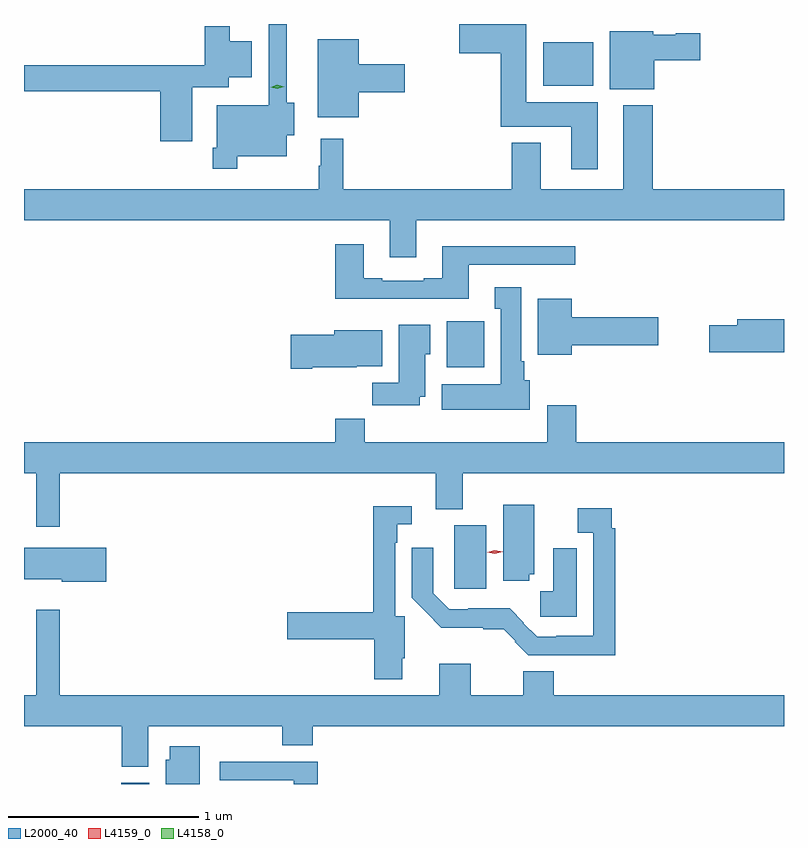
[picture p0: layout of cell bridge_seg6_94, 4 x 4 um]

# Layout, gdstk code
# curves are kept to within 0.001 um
import gdstk
lib = gdstk.Library(unit=1e-6, precision=1e-09)
def R(c, l, rs):  # rectangles x0, y0, x1, y1
    for r in rs: c.add(gdstk.rectangle(r[:2], r[2:], *l))
def P(c, l, *ps):  # polygons
    for p in ps: c.add(gdstk.Polygon(p, *l))
L2000_40 = (2000, 40)
L4158_0 = (4158, 0)
L4159_0 = (4159, 0)

bridge_seg6_94 = lib.new_cell('bridge_seg6_94')
R(bridge_seg6_94, L2000_40, [(658.856,969.677,659.002,969.684), (660.608,970.704,660.778,971.038), (660.569,971.87,660.766,972.112), (661.076,973.352,661.339,973.582)])
P(bridge_seg6_94, L2000_40, [(661.363,973.264),(660.988,973.264),(660.988,973.677),(660.636,973.677),(660.636,973.523),(660.854,973.523),(660.854,973.136),(661.223,973.136),(661.223,972.912),(661.363,972.912)],
  [(659.467,972.98),(659.728,972.98),(659.728,973.091),(659.767,973.091),(659.767,973.262),(659.728,973.262),(659.728,973.677),(659.631,973.677),(659.631,973.249),(659.358,973.249),(659.358,973.027),(659.338,973.027),(659.338,972.915),(659.467,972.915)],
  [(659.23,973.343),(659.422,973.343),(659.422,973.397),(659.542,973.397),(659.542,973.585),(659.428,973.585),(659.428,973.666),(659.294,973.666),(659.294,973.46),(658.344,973.46),(658.344,973.324),(659.06,973.324),(659.06,973.059),(659.23,973.059)],
  [(661.66,973.487),(661.903,973.487),(661.903,973.629),(661.773,973.629),(661.773,973.621),(661.656,973.621),(661.656,973.639),(661.427,973.639),(661.427,973.334),(661.66,973.334)],
  [(660.106,973.319),(660.349,973.319),(660.349,973.466),(660.106,973.466),(660.106,973.597),(659.891,973.597),(659.891,973.187),(660.106,973.187)],
  [(660.409,972.644),(662.344,972.644),(662.344,972.808),(661.652,972.808),(661.652,973.249),(661.499,973.249),(661.499,972.808),(661.063,972.808),(661.063,973.051),(660.911,973.051),(660.911,972.808),(660.023,972.808),(660.023,973.072),(659.906,973.072),(659.906,972.932),(659.895,972.932),(659.895,972.808),(658.344,972.808),(658.344,972.644),(660.269,972.644),(660.269,972.45),(660.409,972.45)],
  [(660.685,972.411),(661.246,972.411),(661.246,972.508),(660.545,972.508),(660.545,972.34),(660.449,972.34),(660.449,972.327),(660.229,972.327),(660.229,972.34),(660.133,972.34),(660.133,972.517),(659.981,972.517),(659.981,972.23),(660.685,972.23)],
  [(661.006,971.802),(660.976,971.802),(660.976,971.902),(660.961,971.902),(660.961,972.292),(660.821,972.292),(660.821,972.179),(660.854,972.179),(660.854,971.782),(660.542,971.782),(660.542,971.648),(661.006,971.648)],
  [(661.228,971.987),(661.681,971.987),(661.681,972.134),(661.228,972.134),(661.228,972.232),(661.049,972.232),(661.049,971.936),(661.228,971.936)],
  [(662.344,972.122),(662.099,972.122),(662.099,972.092),(661.95,972.092),(661.95,971.95),(662.344,971.95)],
  [(660.427,971.714),(660.457,971.714),(660.457,971.94),(660.481,971.94),(660.481,972.094),(660.317,972.094),(660.317,971.788),(660.178,971.788),(660.178,971.67),(660.427,971.67)],
  [(659.86,971.87),(660.096,971.87),(660.096,971.876),(660.229,971.876),(660.229,972.064),(659.978,972.064),(659.978,972.041),(659.748,972.041),(659.748,971.863),(659.86,971.863)],
  [(658.531,971.312),(660.512,971.312),(660.512,971.123),(660.652,971.123),(660.652,971.312),(662.344,971.312),(662.344,971.476),(661.25,971.476),(661.25,971.671),(661.097,971.671),(661.097,971.476),(660.137,971.476),(660.137,971.6),(659.981,971.6),(659.981,971.476),(658.344,971.476),(658.344,971.312),(658.409,971.312),(658.409,971.031),(658.531,971.031)],
  [(661.003,970.782),(661.03,970.782),(661.03,971.146),(660.866,971.146),(660.866,970.748),(661.003,970.748)],
  [(660.334,970.339),(660.347,970.339),(660.347,970.56),(660.297,970.56),(660.297,970.946),(660.309,970.946),(660.309,971.043),(660.385,971.043),(660.385,971.14),(660.181,971.14),(660.181,970.58),(659.73,970.58),(659.73,970.438),(660.188,970.438),(660.188,970.229),(660.334,970.229)],
  [(661.457,971.024),(661.437,971.024),(661.437,971.128),(661.258,971.128),(661.258,971),(661.341,971),(661.341,970.456),(661.144,970.456),(661.144,970.452),(661.044,970.452),(660.972,970.524),(660.975,970.527),(660.901,970.601),(660.682,970.601),(660.682,970.596),(660.582,970.596),(660.498,970.68),(660.498,970.921),(660.386,970.921),(660.386,970.656),(660.541,970.499),(660.761,970.499),(660.761,970.491),(660.869,970.491),(660.931,970.429),(660.927,970.425),(660.997,970.355),(661.457,970.355)],
  [(658.777,970.92),(658.344,970.92),(658.344,970.754),(658.542,970.754),(658.542,970.742),(658.777,970.742)],
  [(661.252,970.919),(661.13,970.919),(661.13,970.691),(661.062,970.691),(661.062,970.558),(661.252,970.558)],
  [(658.999,969.98),(659.704,969.98),(659.704,969.881),(659.864,969.881),(659.864,969.98),(662.344,969.98),(662.344,970.144),(661.132,970.144),(661.132,970.27),(660.971,970.27),(660.971,970.144),(660.694,970.144),(660.694,970.309),(660.53,970.309),(660.53,970.144),(658.531,970.144),(658.531,970.594),(658.409,970.594),(658.409,970.144),(658.344,970.144),(658.344,969.98),(658.859,969.98),(658.859,969.769),(658.999,969.769)],
  [(659.269,969.877),(659.111,969.877),(659.111,969.804),(659.09,969.804),(659.09,969.677),(659.269,969.677)],
  [(659.891,969.794),(659.373,969.794),(659.373,969.696),(659.765,969.696),(659.765,969.677),(659.891,969.677)])
P(bridge_seg6_94, L4158_0, [(659.678,973.336),(659.643,973.344),(659.642,973.344),(659.643,973.345),(659.678,973.356),(659.713,973.347),(659.714,973.347),(659.713,973.347)])
P(bridge_seg6_94, L4159_0, [(660.822,970.889),(660.781,970.898),(660.781,970.898),(660.781,970.898),(660.822,970.908),(660.863,970.899),(660.863,970.899),(660.863,970.899)])

lib.write_gds('bridge_seg6_94.gds')
